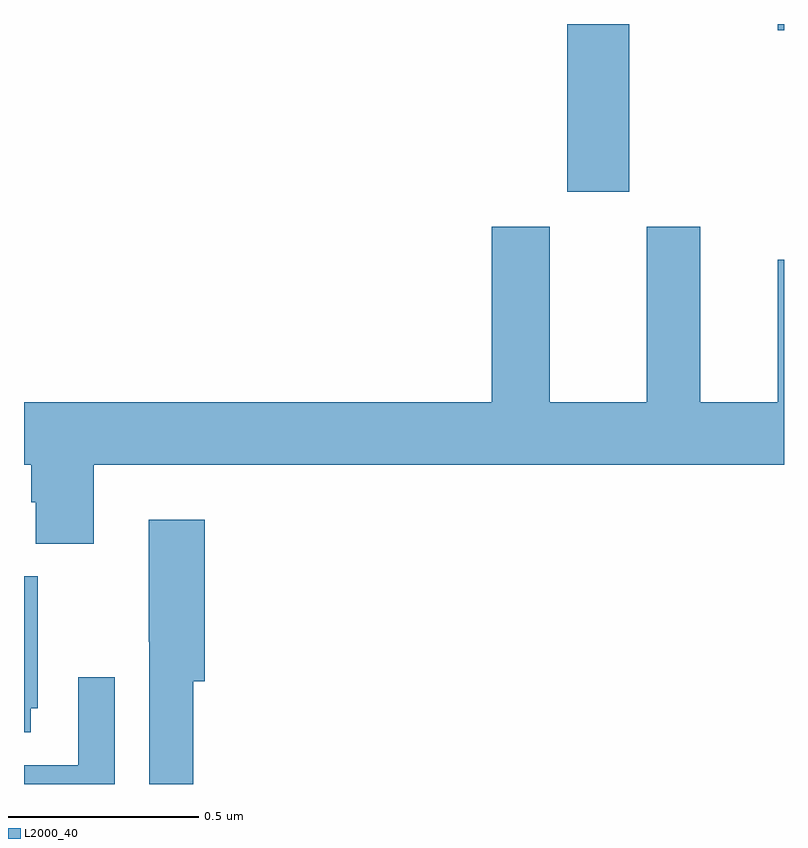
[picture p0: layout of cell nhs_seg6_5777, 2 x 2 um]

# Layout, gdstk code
import gdstk
lib = gdstk.Library(unit=1e-6, precision=1e-09)
def R(c, l, rs):  # rectangles x0, y0, x1, y1
    for r in rs: c.add(gdstk.rectangle(r[:2], r[2:], *l))
def P(c, l, *ps):  # polygons
    for p in ps: c.add(gdstk.Polygon(p, *l))
L2000_40 = (2000, 40)

nhs_seg6_5777 = lib.new_cell('nhs_seg6_5777')
R(nhs_seg6_5777, L2000_40, [(188.429,944.058,188.593,944.5), (188.984,944.484,189,944.5)])
P(nhs_seg6_5777, L2000_40, [(187,943.34),(187.019,943.34),(187.019,943.241),(187.031,943.241),(187.031,943.132),(187.184,943.132),(187.184,943.34),(189,943.34),(189,943.879),(188.984,943.879),(188.984,943.504),(188.779,943.504),(188.779,943.966),(188.639,943.966),(188.639,943.504),(188.383,943.504),(188.383,943.966),(188.231,943.966),(188.231,943.504),(187,943.504)],
  [(187.445,942.77),(187.475,942.77),(187.475,943.195),(187.328,943.195),(187.328,942.874),(187.329,942.874),(187.329,942.5),(187.445,942.5)],
  [(187.018,942.699),(187.036,942.699),(187.036,943.047),(187,943.047),(187,942.636),(187.018,942.636)],
  [(187.239,942.781),(187.143,942.781),(187.143,942.55),(187,942.55),(187,942.5),(187.239,942.5)])

lib.write_gds('nhs_seg6_5777.gds')
